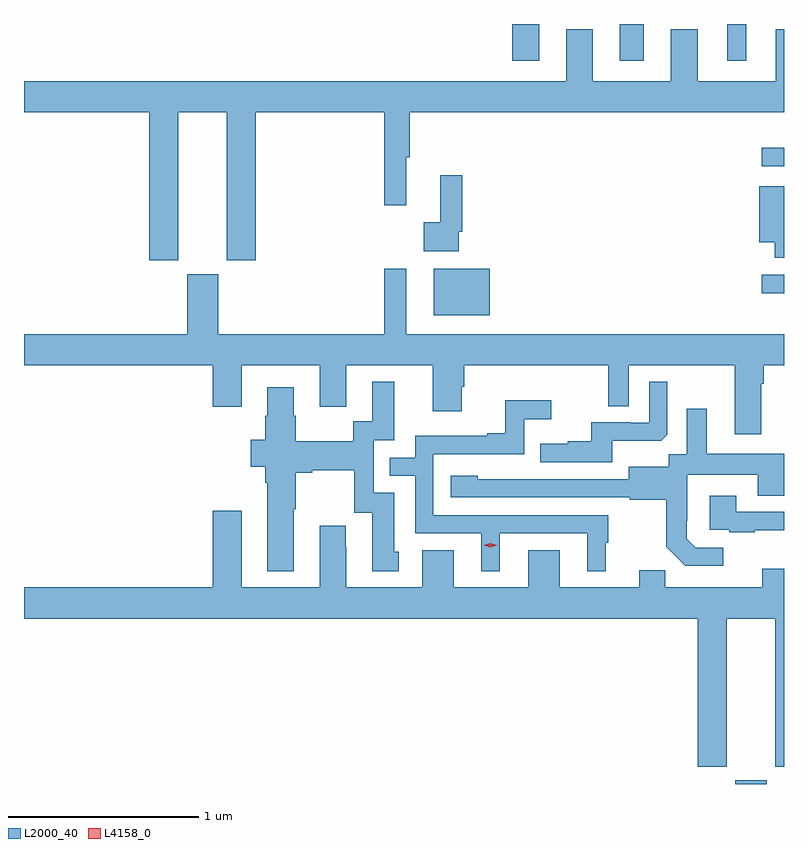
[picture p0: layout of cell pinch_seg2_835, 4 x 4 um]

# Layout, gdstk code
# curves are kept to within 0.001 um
import gdstk
lib = gdstk.Library(unit=1e-6, precision=1e-09)
def R(c, l, rs):  # rectangles x0, y0, x1, y1
    for r in rs: c.add(gdstk.rectangle(r[:2], r[2:], *l))
def P(c, l, *ps):  # polygons
    for p in ps: c.add(gdstk.Polygon(p, *l))
L2000_40 = (2000, 40)
L4158_0 = (4158, 0)

pinch_seg2_835 = lib.new_cell('pinch_seg2_835')
R(pinch_seg2_835, L2000_40, [(841.22,606.805,841.384,606.825), (839.633,609.272,839.926,609.517), (841.359,609.389,841.476,609.486), (841.359,610.056,841.476,610.154), (840.047,610.611,840.187,610.805), (840.611,610.611,840.739,610.805), (841.178,610.611,841.276,610.805)])
P(pinch_seg2_835, L2000_40, [(838.288,610.34),(838.544,610.34),(838.544,609.561),(838.697,609.561),(838.697,610.34),(839.371,610.34),(839.371,609.852),(839.489,609.852),(839.489,610.104),(839.507,610.104),(839.507,610.34),(841.476,610.34),(841.476,610.777),(841.433,610.777),(841.433,610.504),(841.021,610.504),(841.021,610.777),(840.881,610.777),(840.881,610.504),(840.469,610.504),(840.469,610.777),(840.329,610.777),(840.329,610.504),(837.476,610.504),(837.476,610.34),(838.136,610.34),(838.136,609.561),(838.288,609.561)],
  [(839.763,609.712),(839.783,609.712),(839.783,610.009),(839.666,610.009),(839.666,609.761),(839.58,609.761),(839.58,609.608),(839.763,609.608)],
  [(841.476,609.952),(841.346,609.952),(841.346,609.656),(841.427,609.656),(841.427,609.576),(841.476,609.576)],
  [(841.357,608.912),(841.37,608.912),(841.37,609.008),(841.476,609.008),(841.476,609.172),(839.488,609.172),(839.488,609.517),(839.371,609.517),(839.371,609.172),(838.498,609.172),(838.498,609.489),(838.334,609.489),(838.334,609.172),(837.476,609.172),(837.476,609.008),(838.469,609.008),(838.469,608.79),(838.621,608.79),(838.621,609.008),(839.033,609.008),(839.033,608.79),(839.173,608.79),(839.173,609.008),(839.627,609.008),(839.627,608.766),(839.779,608.766),(839.779,608.895),(839.792,608.895),(839.792,609.008),(840.552,609.008),(840.552,608.794),(840.66,608.794),(840.66,609.008),(841.217,609.008),(841.217,608.646),(841.357,608.646)],
  [(840.571,608.612),(840.829,608.612),(840.861,608.643),(840.861,608.923),(840.768,608.923),(840.768,608.706),(840.668,608.706),(840.668,608.709),(840.461,608.709),(840.461,608.608),(840.337,608.608),(840.337,608.596),(840.193,608.596),(840.193,608.499),(840.571,608.499)],
  [(838.897,608.251),(838.905,608.251),(838.905,608.444),(838.993,608.444),(838.993,608.456),(839.213,608.456),(839.213,608.232),(839.309,608.232),(839.309,607.926),(839.449,607.926),(839.449,608.028),(839.425,608.028),(839.425,608.337),(839.316,608.337),(839.316,608.613),(839.425,608.613),(839.425,608.923),(839.309,608.923),(839.309,608.714),(839.208,608.714),(839.208,608.608),(838.905,608.608),(838.905,608.742),(838.897,608.742),(838.897,608.893),(838.757,608.893),(838.757,608.742),(838.745,608.742),(838.745,608.616),(838.67,608.616),(838.67,608.474),(838.745,608.474),(838.745,608.39),(838.757,608.39),(838.757,607.925),(838.897,607.925)],
  [(839.98,608.124),(840.44,608.124),(840.44,607.925),(840.538,607.925),(840.538,608.076),(840.55,608.076),(840.55,608.22),(839.631,608.22),(839.631,608.541),(840.108,608.541),(840.108,608.726),(840.25,608.726),(840.25,608.825),(840.01,608.825),(840.01,608.65),(839.915,608.65),(839.915,608.637),(839.535,608.637),(839.535,608.523),(839.401,608.523),(839.401,608.427),(839.535,608.427),(839.535,608.124),(839.882,608.124),(839.882,607.925),(839.98,607.925)],
  [(841.156,608.049),(841.011,608.049),(840.964,608.096),(840.964,608.191),(840.966,608.191),(840.966,608.432),(841.337,608.432),(841.337,608.323),(841.476,608.323),(841.476,608.542),(841.069,608.542),(841.069,608.779),(840.965,608.779),(840.965,608.54),(840.87,608.54),(840.87,608.476),(840.659,608.476),(840.659,608.409),(839.865,608.41),(839.865,608.428),(839.721,608.428),(839.721,608.313),(840.663,608.313),(840.663,608.301),(840.855,608.301),(840.855,608.055),(840.955,607.955),(841.156,607.955)],
  [(841.321,608.141),(841.476,608.141),(841.476,608.238),(841.225,608.238),(841.225,608.323),(841.085,608.323),(841.085,608.142),(841.189,608.142),(841.189,608.13),(841.321,608.13)],
  [(841.174,607.676),(841.43,607.676),(841.43,606.897),(841.476,606.897),(841.476,607.939),(841.361,607.939),(841.361,607.84),(840.851,607.84),(840.851,607.931),(840.713,607.931),(840.713,607.84),(840.295,607.84),(840.295,608.035),(840.131,608.035),(840.131,607.84),(839.737,607.84),(839.737,608.035),(839.573,608.035),(839.573,607.84),(839.173,607.84),(839.173,608.051),(839.17,608.051),(839.17,608.164),(839.033,608.164),(839.033,607.84),(838.621,607.84),(838.621,608.242),(838.469,608.242),(838.469,607.84),(837.476,607.84),(837.476,607.676),(841.022,607.676),(841.022,606.897),(841.174,606.897)])
P(pinch_seg2_835, L4158_0, [(839.931,608.051),(839.895,608.061),(839.895,608.061),(839.895,608.061),(839.931,608.071),(839.967,608.061),(839.967,608.061),(839.967,608.061)])

lib.write_gds('pinch_seg2_835.gds')
